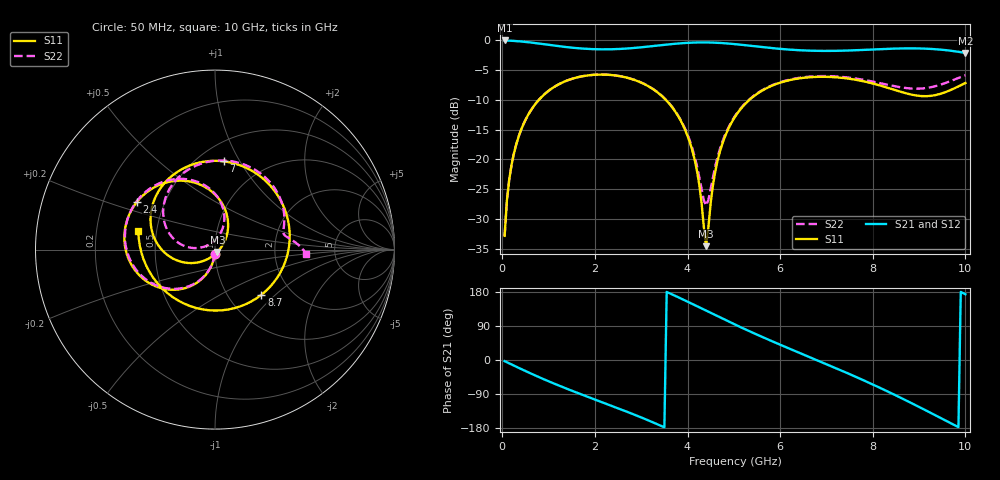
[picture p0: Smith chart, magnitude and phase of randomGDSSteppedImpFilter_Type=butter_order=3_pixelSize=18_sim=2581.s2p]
! freq	dB(S11)	phase(S11)	dB(S12)	phase(S12)
!  dB(S21)	phase(S21)	dB(S22)	phase(S22)
!S-par simulation data
#  GHz  S  DB  R 50
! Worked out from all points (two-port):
!   200 points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, 50 MHz to 10 GHz, reference 50 ohm
!   highest |S21| = 0.00 dB at 50 MHz (marker M1); lowest = -2.1 dB at 10 GHz (marker M2)
!   |S21| within 3 dB of the highest: start of sweep to end of sweep
!   lowest |S11| = -34.6 dB at 4.4 GHz (marker M3), VSWR 1.04, Z = 51.4 - j1.3 ohm
!   |S11| at or under -10 dB: start of sweep to 789.2 MHz; 3.532 GHz to 5.335 GHz (1.804 GHz wide, 40.7 % of centre)
!   |S22| runs from -32.9 to -5.7 dB; largest |S21 - S12| = 0
!   S11 on the Smith chart (normalised r, x): 50 MHz: 1.00, -0.05; 2.4 GHz: 0.35, +0.25; 7 GHz: 0.66, +0.86; 8.7 GHz: 1.42, -0.82; 10 GHz: 0.39, +0.10
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0.05  -32.87 -93.0  -0.00 -3.0  -0.00 -3.0  -32.87 -93.0
0.1  -26.87 -96.1  -0.02 -6.0  -0.02 -6.0  -26.87 -96.2
0.2  -20.93 -102.1  -0.06 -11.8  -0.06 -11.8  -20.93 -102.4
0.5  -13.38 -119.3  -0.25 -29.1  -0.25 -29.1  -13.38 -120.0
1.1  -7.92 -151.0  -0.84 -61.3  -0.84 -61.3  -7.92 -152.7
1.75  -6.00 178.1  -1.38 -92.7  -1.38 -92.7  -6.00 175.5
2.4  -5.85 148.5  -1.48 -122.8  -1.48 -122.8  -5.85 145.3
3.4  -9.04 99.1  -0.83 -172.3  -0.83 -172.3  -9.01 97.5
4.05  -17.15 58.5  -0.39 151.1  -0.39 151.1  -16.89 70.7
4.25  -24.07 37.3  -0.34 139.2  -0.34 139.2  -22.85 76.9
4.4  -34.61 -42.7  -0.33 130.3  -0.33 130.3  -27.76 123.2
4.55  -24.29 -125.2  -0.36 121.4  -0.36 121.4  -22.92 169.3
4.65  -20.18 -137.8  -0.40 115.4  -0.40 115.4  -19.57 175.4
5.05  -12.55 -167.2  -0.64 92.1  -0.64 92.1  -12.43 165.3
5.9  -7.38 144.5  -1.35 45.6  -1.35 45.6  -7.30 123.9
6.7  -6.16 101.4  -1.74 4.4  -1.74 4.4  -6.06 86.1
7  -6.12 84.4  -1.76 -11.0  -1.76 -11.0  -6.00 72.6
7.65  -6.64 44.0  -1.65 -45.3  -1.65 -45.3  -6.43 45.8
8.35  -8.03 -10.2  -1.41 -84.7  -1.41 -84.7  -7.51 23.5
8.7  -8.85 -44.2  -1.34 -105.5  -1.34 -105.5  -7.99 16.6
9.3  -9.28 -113.7  -1.45 -142.6  -1.45 -142.6  -7.79 9.9
10  -7.16 166.7  -2.10 173.4  -2.10 173.4  -5.85 -2.7
